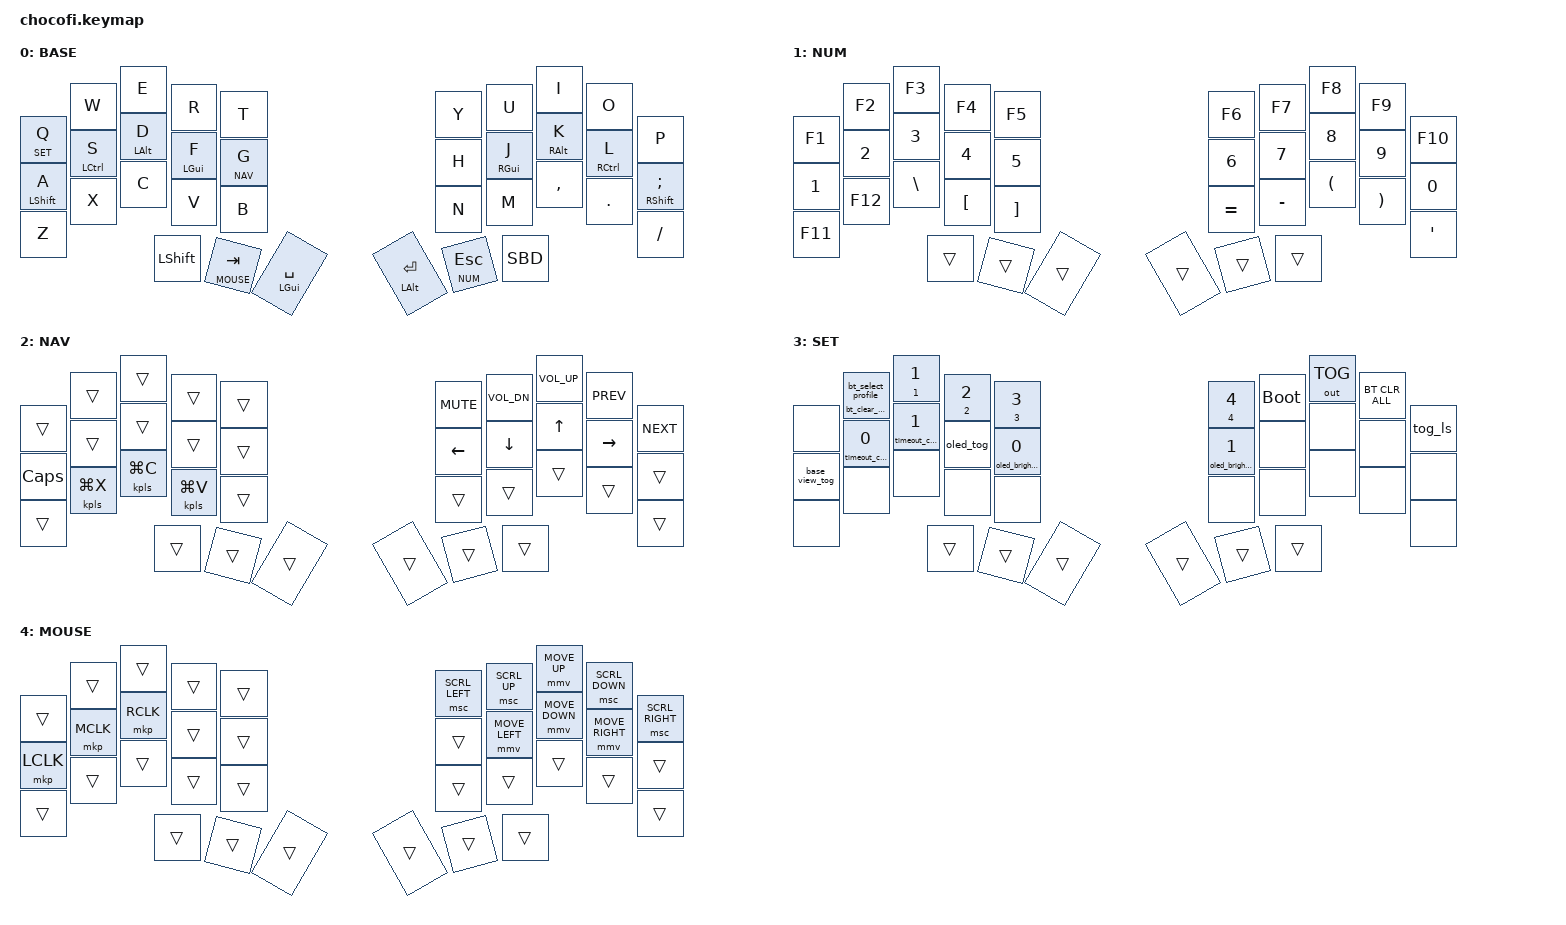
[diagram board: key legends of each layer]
#include <behaviors.dtsi>

/* Layout-shift support is provided by this repository's local Zephyr module. */
#include <dt-bindings/zmk/keys.h>
#include <dt-bindings/zmk/outputs.h>
#include <dt-bindings/zmk/bt.h>
#include <dt-bindings/zmk/pointing.h>
#include <dt-bindings/zmk/layout_shift.h>
#include <layout_shift_kp_override.dtsi>

#include "zmk-helpers/helper.h"
#include "keys/36.h"

/* Hana-aligned timing for every standard Mod-Tap key. */
&mt {
    flavor = "hold-preferred";
    tapping-term-ms = <200>;
    quick-tap-ms = <175>;
};

/* Keep the Chocofi's 36-key / five-column physical layout unchanged. */
#define BASE  0
#define NUM   1
#define NAV   2
#define SET   3
#define MOUSE 4

#define ___ &trans
#define _x_ &none
/* Only GUI/Alt shortcuts need the layout-aware keypress path. */
#define _CUT_   &kpls LG(X)
#define _COPY_  &kpls LG(C)
#define _PASTE_ &kpls LG(V)

ZMK_MOD_MORPH(smart_shift,
    bindings = <&sk LSHFT>, <&caps_word>;
    mods = <(MOD_LSFT)>;
)

/* GUI <-> Alt mapping: inactive = macOS, active = Windows. */
&tog_ls {
    layout-maps = <&layout_shift_map_gui_alt>;
};

/ {
    layout_shift_map_gui_alt: layout_shift_map_gui_alt {
        compatible = "zmk,layout-shift-map";
        mappings = <
            LGUI LALT LAYOUT_SHIFT_OPTIONAL_ALL
            LALT LGUI LAYOUT_SHIFT_OPTIONAL_ALL
            RGUI RALT LAYOUT_SHIFT_OPTIONAL_ALL
            RALT RGUI LAYOUT_SHIFT_OPTIONAL_ALL
        >;
    };

    macros {
        bt_select_profile: bt_select_profile {
            compatible = "zmk,behavior-macro-one-param";
            #binding-cells = <1>;
            bindings = <&macro_param_1to2>, <&bt BT_SEL MACRO_PLACEHOLDER>;
        };

        bt_clear_profile: bt_clear_profile {
            compatible = "zmk,behavior-macro-one-param";
            #binding-cells = <1>;
            wait-ms = <20>;
            bindings =
                <&macro_param_1to2>,
                <&bt BT_SEL MACRO_PLACEHOLDER>,
                <&bt BT_CLR>;
        };
    };

    behaviors {
        bt_profile: bt_profile {
            compatible = "zmk,behavior-hold-tap";
            #binding-cells = <2>;
            flavor = "tap-preferred";
            tapping-term-ms = <3000>;
            bindings = <&bt_clear_profile>, <&bt_select_profile>;
            hold-trigger-key-positions = <0xffffffff 0xffffffff>;
            display-name = "Bluetooth Profile";
        };

        SBD: S_BSPC_DEL {
            compatible = "zmk,behavior-mod-morph";
            #binding-cells = <0>;
            bindings = <&kp BSPC>, <&kp DEL>;
            mods = <(MOD_LSFT | MOD_RSFT)>;
        };

        /* Dongle OLED controls; all execute on the central dongle. */
        oled_tog: oled_toggle {
            compatible = "zmk,behavior-oled-toggle";
            #binding-cells = <0>;
            display-name = "OLED Power";
        };

        base_view_tog: base_view_toggle {
            compatible = "zmk,behavior-base-view-toggle";
            #binding-cells = <0>;
            display-name = "BASE View Cycle";
        };

        timeout_cycle: timeout_cycle {
            compatible = "zmk,behavior-timeout-cycle";
            #binding-cells = <1>;
            display-name = "Timeout Cycle";
        };

        oled_brightness: oled_brightness {
            compatible = "zmk,behavior-oled-brightness";
            #binding-cells = <1>;
            display-name = "OLED Brightness";
        };
    };

    combos {
        compatible = "zmk,combos";

        iu_backspace_combo {
            timeout-ms = <50>;
            bindings = <&kp COLON>;
            key-positions = <16 17>;
            layers = <BASE>;
        };

        jk_colon_combo {
            timeout-ms = <50>;
            bindings = <&smart_shift>;
            key-positions = <12 13>;
            layers = <BASE>;
        };

        studio_unlock_combo {
            timeout-ms = <50>;
            bindings = <&studio_unlock>;
            key-positions = <0 1>;
            layers = <BASE>;
        };
    };

    keymap {
        compatible = "zmk,keymap";

        base_layer {
            display-name = "BASE";
            bindings = <
                &lt SET Q    &kp W       &kp E       &kp R       &kp T          &kp Y       &kp U       &kp I       &kp O       &kp P
                &mt LSHIFT A &mt LCTRL S &mtls LALT D  &mtls LGUI F  &lt NAV G      &kp H       &mtls RGUI J  &mtls RALT K  &mt RCTRL L &mt RSHIFT SEMI
                &kp Z        &kp X       &kp C       &kp V       &kp B          &kp N       &kp M       &kp COMMA   &kp DOT     &kp FSLH
                                      &kp LSHIFT   &lt MOUSE TAB  &mtls LGUI SPACE     &mtls LALT RETURN  &lt NUM ESC  &SBD
            >;
        };

        num_layer {
            display-name = "NUM";
            bindings = <
                &kp F1  &kp F2  &kp F3  &kp F4  &kp F5       &kp F6  &kp F7  &kp F8  &kp F9  &kp F10
                &kp N1  &kp N2  &kp N3  &kp N4  &kp N5       &kp N6  &kp N7  &kp N8  &kp N9  &kp N0
                &kp F11 &kp F12 &kp BSLH &kp LBKT &kp RBKT   &kp EQUAL &kp MINUS &kp LPAR &kp RPAR &kp APOS
                                      ___       ___       ___       ___       ___       ___
            >;
        };

        nav_layer {
            display-name = "NAV";
            bindings = <
                ___   ___   ___   ___   ___       &kp C_MUTE   &kp C_VOL_DN &kp C_VOL_UP &kp C_PREV &kp C_NEXT
                &kp CAPS ___   ___   ___   ___     &kp LEFT     &kp DOWN     &kp UP       &kp RIGHT   ___
                ___   _CUT_ _COPY_ _PASTE_ ___     ___          ___          ___          ___         ___
                                      ___   ___   ___          ___          ___          ___
            >;
        };

        set_layer {
            display-name = "SET";
            bindings = <
                _x_ &bt_profile 0 0 &bt_profile 1 1 &bt_profile 2 2 &bt_profile 3 3
                    &bt_profile 4 4 &bootloader &out OUT_TOG &bt BT_CLR_ALL &tog_ls
                &base_view_tog &timeout_cycle 0 &timeout_cycle 1 &oled_tog
                &oled_brightness 0 &oled_brightness 1 _x_ _x_ _x_ _x_
                _x_ _x_ _x_ _x_ _x_ _x_ _x_ _x_ _x_ _x_
                                      ___ ___ ___ ___ ___ ___
            >;
        };

        mouse_layer {
            display-name = "MOUSE";
            bindings = <
                ___ ___ ___ ___ ___       &msc SCRL_LEFT &msc SCRL_UP &mmv MOVE_UP &msc SCRL_DOWN &msc SCRL_RIGHT
                &mkp LCLK &mkp MCLK &mkp RCLK ___ ___  ___ &mmv MOVE_LEFT &mmv MOVE_DOWN &mmv MOVE_RIGHT ___
                ___ ___ ___ ___ ___       ___ ___ ___ ___ ___
                                      ___ ___ ___ ___ ___ ___
            >;
        };
    };
};

/* vim:ft=cpp */
